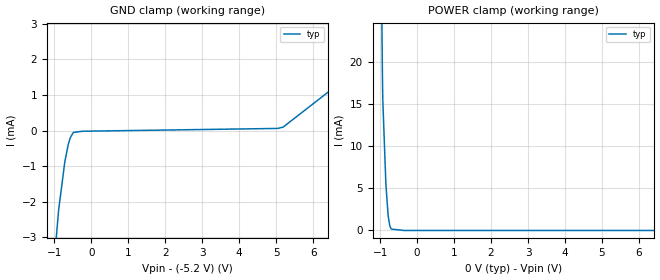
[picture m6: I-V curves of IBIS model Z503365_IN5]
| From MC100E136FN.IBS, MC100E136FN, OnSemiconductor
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| (C) COPYRIGHT 1993-2000
| MENTOR GRAPHICS CORPORATION
| ICX STANDARD LIBRARY, ICX PROJECT MODELING,
| ICX CUSTOM MODELING, ICX VENDOR MODEL
| ALL RIGHTS RESERVED.
| THE FOLLOWING ARE TRADEMARKS OR SERVICE MARKS OF
| MENTOR GRAPHICS CORPORATION:ICX (R), ICX STANDARD
| LIBRARY(R), ICX PROJECT MODELING(R), ICX CUSTOM
| MODELING(R), qualityIBIS(TM), MODELVIEWER(TM),
| AND MODELEDITOR(TM)
| ALL COPIES OF SOFTWARE, INCLUDING BUT NOT LIMITED TO
| ANY MODIFICATIONS, ENHANCEMENTS OR DERIVATIVE WORKS,
| MUST CONTAIN ALL MENTOR GRAPHICS CORPORATION'S
| NOTICES AND LEGENDS, INCLUDING THOSE EMBEDDED IN
| SOFTWARE AND THOSE AFFIXED TO SOFTWARE MEDIUM
| AND CONTAINER, AS RECEIVED FROM MENTOR GRAPHICS
| CORPORATION.
| Model Application Version 1.89 2/18/99.
[Model] Z503365_IN5
Model_type Input_ECL
Vinl = -1.475V
Vinh = -1.165V
C_comp 4.000pF NA NA
| variable typ   min   max
[Voltage Range] -5.200V NA NA
[GND Clamp Reference] -5.200V NA NA
[POWER Clamp Reference] 0.000V NA NA
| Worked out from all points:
|   GND clamp passes 1 mA (typ) near -0.73 V on its own axis
|   POWER clamp passes 1 mA (typ) near -0.75 V on its own axis
[GND Clamp]
-5.2V     -129.8mA   NA         NA
-1.026V   -3.996mA   NA         NA
-884mV    -2.247mA   NA         NA
-717mV    -893.6uA   NA         NA
-625mV    -401.4uA   NA         NA
-567mV    -199.1uA   NA         NA
-485mV    -54.28uA   NA         NA
-242.5mV  -19.91uA   NA         NA
5.05V     59.17uA    NA         NA
5.19V     97.52uA    NA         NA
10.4V     4.314mA    NA         NA
[POWER Clamp]
-5.2V     1.224A     NA         NA
-1.006V   48.69mA    NA         NA
-936.9mV  18.26mA    NA         NA
-927.8mV  15.53mA    NA         NA
-843.7mV  5.505mA    NA         NA
-783.5mV  1.778mA    NA         NA
-738mV    536.4uA    NA         NA
-698.5mV  165.3uA    NA         NA
-349.2mV  0A         NA         NA
10.4V     0A         NA         NA
